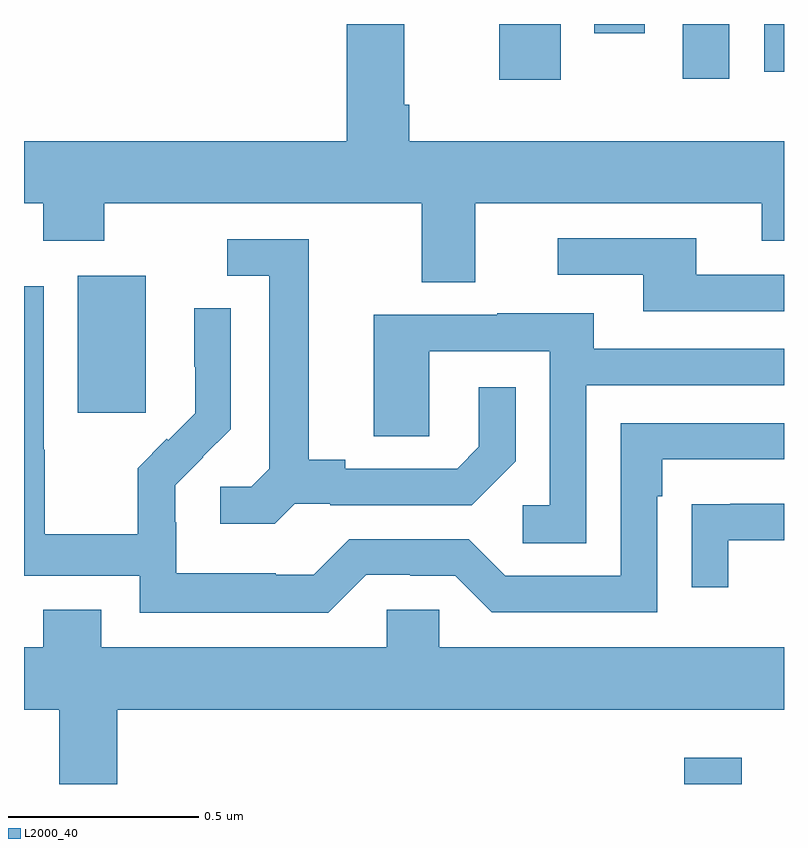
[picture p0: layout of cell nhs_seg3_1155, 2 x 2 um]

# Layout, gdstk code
import gdstk
lib = gdstk.Library(unit=1e-6, precision=1e-09)
def R(c, l, rs):  # rectangles x0, y0, x1, y1
    for r in rs: c.add(gdstk.rectangle(r[:2], r[2:], *l))
def P(c, l, *ps):  # polygons
    for p in ps: c.add(gdstk.Polygon(p, *l))
L2000_40 = (2000, 40)

nhs_seg3_1155 = lib.new_cell('nhs_seg3_1155')
R(nhs_seg3_1155, L2000_40, [(126.737,687.4,126.889,687.469), (125.141,688.377,125.32,688.738), (126.251,689.253,126.412,689.4), (126.734,689.256,126.856,689.4), (126.948,689.274,127,689.4), (126.5,689.376,126.634,689.4)])
P(nhs_seg3_1155, L2000_40, [(126.187,688.928),(126.941,688.928),(126.941,688.829),(127,688.829),(127,689.092),(126.014,689.092),(126.014,689.188),(126.001,689.188),(126.001,689.4),(125.849,689.4),(125.849,689.092),(125,689.092),(125,688.928),(125.051,688.928),(125.051,688.829),(125.211,688.829),(125.211,688.928),(126.047,688.928),(126.047,688.72),(126.187,688.72)],
  [(127,688.74),(126.769,688.74),(126.769,688.836),(126.405,688.836),(126.405,688.74),(126.629,688.74),(126.629,688.644),(127,688.644)],
  [(125.712,688.137),(125.806,688.137),(125.806,688.134),(126.178,688.134),(126.294,688.25),(126.294,688.444),(126.197,688.444),(126.197,688.287),(126.14,688.23),(125.845,688.23),(125.845,688.253),(125.749,688.253),(125.749,688.833),(125.535,688.833),(125.535,688.737),(125.645,688.737),(125.645,688.229),(125.598,688.182),(125.517,688.182),(125.517,688.085),(125.66,688.085)],
  [(125.901,687.951),(126.017,687.951),(126.017,687.948),(126.135,687.948),(126.231,687.852),(126.666,687.852),(126.666,688.157),(126.679,688.157),(126.679,688.254),(127,688.254),(127,688.35),(126.57,688.35),(126.57,687.948),(126.267,687.948),(126.171,688.044),(125.856,688.044),(125.763,687.951),(125.663,687.951),(125.663,687.955),(125.4,687.955),(125.4,688.089),(125.398,688.089),(125.398,688.186),(125.472,688.26),(125.471,688.261),(125.544,688.334),(125.544,688.652),(125.448,688.652),(125.448,688.498),(125.45,688.498),(125.45,688.376),(125.379,688.305),(125.376,688.308),(125.299,688.231),(125.299,688.057),(125.055,688.057),(125.055,688.28),(125.052,688.28),(125.052,688.71),(125,688.71),(125,687.948),(125.304,687.948),(125.304,687.851),(125.801,687.851)],
  [(126.48,688.449),(127,688.449),(127,688.545),(126.499,688.545),(126.499,688.639),(126.245,688.639),(126.245,688.635),(125.921,688.635),(125.921,688.315),(126.066,688.315),(126.066,688.539),(126.384,688.539),(126.384,688.134),(126.312,688.134),(126.312,688.033),(126.48,688.033)],
  [(126.853,688.041),(127,688.041),(127,688.137),(126.859,688.137),(126.859,688.136),(126.757,688.136),(126.757,687.918),(126.853,687.918)],
  [(125.246,687.596),(127,687.596),(127,687.76),(126.093,687.76),(126.093,687.858),(125.955,687.858),(125.955,687.76),(125.203,687.76),(125.203,687.859),(125.051,687.859),(125.051,687.76),(125,687.76),(125,687.596),(125.093,687.596),(125.093,687.4),(125.246,687.4)])

lib.write_gds('nhs_seg3_1155.gds')
